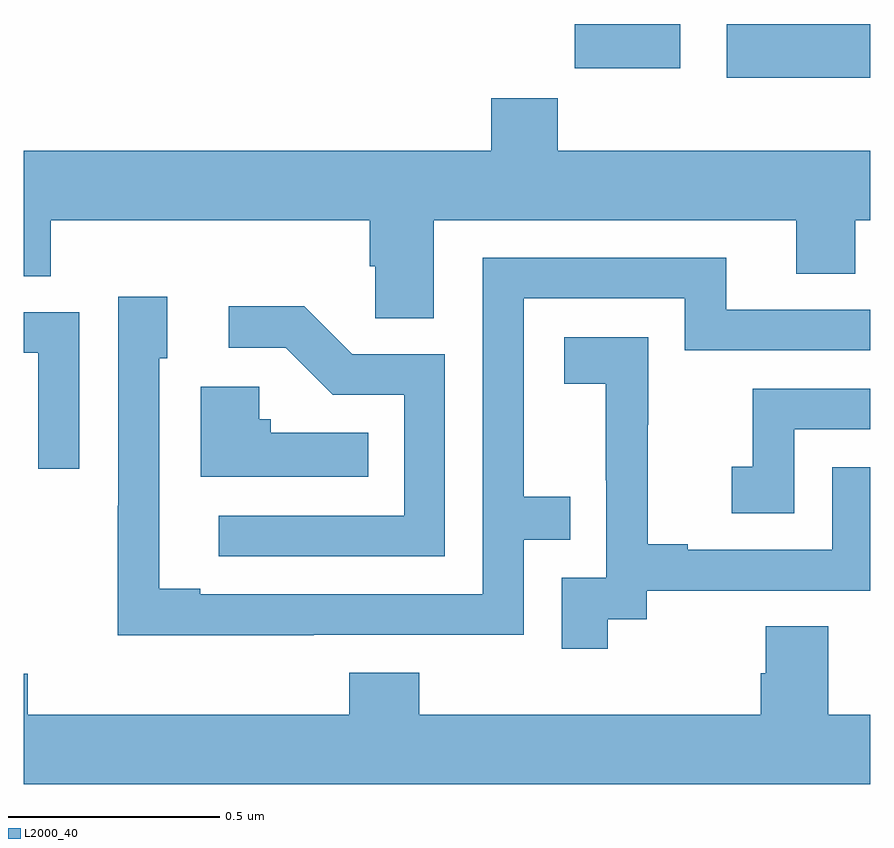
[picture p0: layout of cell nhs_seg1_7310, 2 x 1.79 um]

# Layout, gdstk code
import gdstk
lib = gdstk.Library(unit=1e-6, precision=1e-09)
def R(c, l, rs):  # rectangles x0, y0, x1, y1
    for r in rs: c.add(gdstk.rectangle(r[:2], r[2:], *l))
def P(c, l, *ps):  # polygons
    for p in ps: c.add(gdstk.Polygon(p, *l))
L2000_40 = (2000, 40)

nhs_seg1_7310 = lib.new_cell('nhs_seg1_7310')
R(nhs_seg1_7310, L2000_40, [(203.661,548.072,204,548.199), (203.302,548.094,203.551,548.199)])
P(nhs_seg1_7310, L2000_40, [(202,547.603),(202.064,547.603),(202.064,547.736),(202.817,547.736),(202.817,547.627),(202.83,547.627),(202.83,547.504),(202.969,547.504),(202.969,547.736),(203.825,547.736),(203.825,547.609),(203.964,547.609),(203.964,547.736),(204,547.736),(204,547.9),(203.261,547.9),(203.261,548.024),(203.105,548.024),(203.105,547.9),(202,547.9)],
  [(202.685,546.756),(203.181,546.756),(203.181,546.981),(203.291,546.981),(203.291,547.082),(203.181,547.082),(203.181,547.551),(203.562,547.551),(203.562,547.428),(204,547.428),(204,547.524),(203.659,547.524),(203.659,547.647),(203.085,547.647),(203.085,546.852),(202.417,546.852),(202.417,546.865),(202.32,546.865),(202.32,547.41),(202.339,547.41),(202.339,547.555),(202.224,547.555),(202.224,547.061),(202.222,547.061),(202.222,546.755),(202.685,546.755)],
  [(202.995,547.419),(202.776,547.419),(202.663,547.532),(202.485,547.532),(202.485,547.434),(202.619,547.434),(202.73,547.323),(202.899,547.323),(202.899,547.038),(202.461,547.038),(202.461,546.942),(202.995,546.942)],
  [(202.131,547.518),(202,547.518),(202,547.422),(202.035,547.422),(202.035,547.149),(202.131,547.149)],
  [(203.38,546.793),(203.472,546.793),(203.472,546.861),(204,546.861),(204,547.152),(203.91,547.152),(203.91,546.957),(203.569,546.957),(203.569,546.97),(203.474,546.97),(203.474,547.253),(203.475,547.253),(203.475,547.459),(203.277,547.459),(203.277,547.349),(203.375,547.349),(203.375,547.121),(203.376,547.121),(203.376,546.891),(203.271,546.891),(203.271,546.723),(203.38,546.723)],
  [(202.814,547.234),(202.584,547.234),(202.584,547.266),(202.557,547.266),(202.557,547.342),(202.418,547.342),(202.418,547.13),(202.814,547.13)],
  [(203.82,547.242),(204,547.242),(204,547.338),(203.722,547.338),(203.722,547.153),(203.673,547.153),(203.673,547.044),(203.82,547.044)],
  [(204,546.568),(203.901,546.568),(203.901,546.776),(203.753,546.776),(203.753,546.666),(203.741,546.666),(203.741,546.568),(202.934,546.568),(202.934,546.667),(202.769,546.667),(202.769,546.568),(202.01,546.568),(202.01,546.664),(202,546.664),(202,546.404),(204,546.404)])

lib.write_gds('nhs_seg1_7310.gds')
